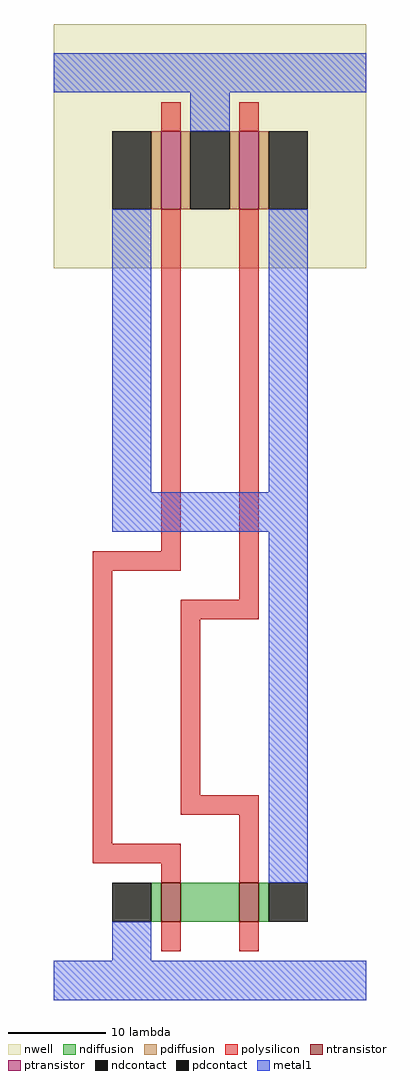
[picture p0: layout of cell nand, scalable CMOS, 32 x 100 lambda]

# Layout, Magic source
magic
tech scmos
<< nwell >>
rect -2 75 30 100
<< ntransistor >>
rect 9 8 11 12
rect 17 8 19 12
<< ptransistor >>
rect 9 81 11 89
rect 17 81 19 89
<< ndiffusion >>
rect 8 8 9 12
rect 11 8 17 12
rect 19 8 20 12
<< pdiffusion >>
rect 8 81 9 89
rect 11 81 12 89
rect 16 81 17 89
rect 19 81 20 89
<< ndcontact >>
rect 4 8 8 12
rect 20 8 24 12
<< pdcontact >>
rect 4 81 8 89
rect 12 81 16 89
rect 20 81 24 89
<< polysilicon >>
rect 9 89 11 92
rect 17 89 19 92
rect 9 46 11 81
rect 2 44 11 46
rect 2 16 4 44
rect 17 41 19 81
rect 11 39 19 41
rect 11 21 13 39
rect 11 19 19 21
rect 2 14 11 16
rect 9 12 11 14
rect 17 12 19 19
rect 9 5 11 8
rect 17 5 19 8
<< metal1 >>
rect -2 93 30 97
rect 12 89 16 93
rect 4 52 8 81
rect 20 52 24 81
rect 4 48 24 52
rect 20 12 24 48
rect 4 4 8 8
rect -2 0 30 4
<< end >>
